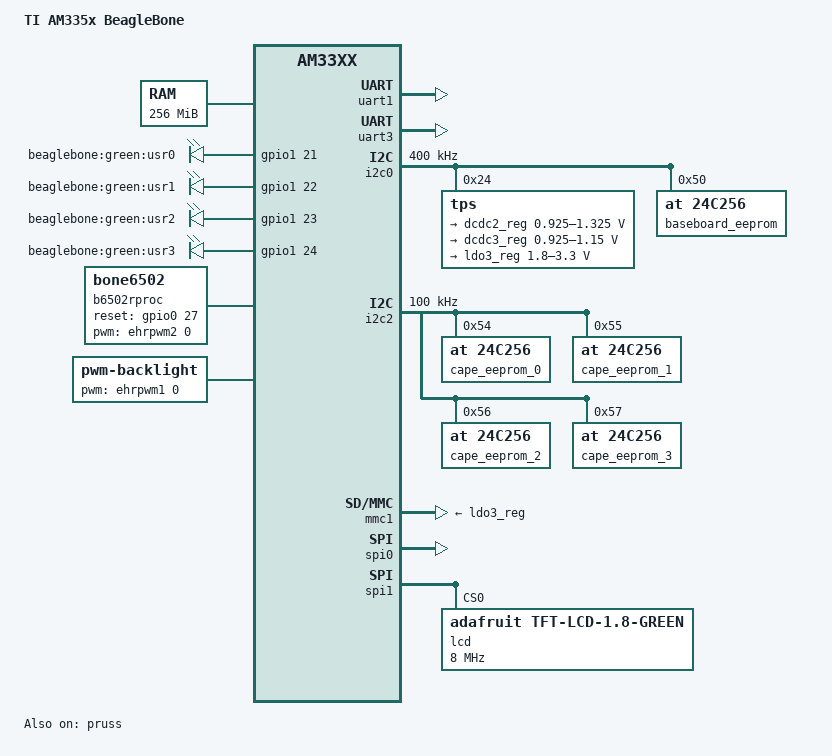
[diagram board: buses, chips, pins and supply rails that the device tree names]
/*
 * Copyright (C) 2012 Texas Instruments Incorporated - http://www.ti.com/
 *
 * This program is free software; you can redistribute it and/or modify
 * it under the terms of the GNU General Public License version 2 as
 * published by the Free Software Foundation.
 */
/dts-v1/;

/include/ "am33xx.dtsi"

/ {
	model = "TI AM335x BeagleBone";
	compatible = "ti,am335x-bone", "ti,am33xx";

	cpus {
		cpu@0 {
			cpu0-supply = <&dcdc2_reg>;
		};
	};

	memory {
		device_type = "memory";
		reg = <0x80000000 0x10000000>; /* 256 MB */
	};

	am3358_pinmux: pinmux@44e10800 {
		userled_pins: pinmux_userled_pins {
			pinctrl-single,pins = <
				0x54 0x7	/* gpmc_a5.gpio1_21, OUTPUT | MODE7 */
				0x58 0x17	/* gpmc_a6.gpio1_22, OUTPUT_PULLUP | MODE7 */
				0x5c 0x7	/* gpmc_a7.gpio1_23, OUTPUT | MODE7 */
				0x60 0x17	/* gpmc_a8.gpio1_24, OUTPUT_PULLUP | MODE7 */
			>;
		};
		spi1_pins: pinmux_spi1_pins {
			pinctrl-single,pins = <
				/* 0x190 0x13 */	/* mcasp0_aclkx.spi1_sclk, OUTPUT_PULLUP | MODE3 */
				/* 0x194 0x33 */	/* mcasp0_fsx.spi1_d0, INPUT_PULLUP | MODE3 */
				/* 0x198 0x13*/	/* mcasp0_axr0.spi1_d1, OUTPUT_PULLUP | MODE3 */
				/*0x19c 0x13 */	/* mcasp0_ahclkr.spi1_cs0, OUTPUT_PULLUP | MODE3 */
				0x48 0x6        /* gpmc_a2.ehrpwm1A, MODE6 */
			>;
		};
		lcd_pins: pinmux_lcd_pins {
			pinctrl-single,pins = <
				0x1a4 0x17	/* mcasp0_fsr.gpio3_19, OUTPUT_PULLUP | MODE7 */
				0x1ac 0x17	/* mcasp0_ahclkx.gpio3_21, OUTPUT_PULLUP | MODE7 */
			>;
		};
		i2c2_pins: pinmux_i2c2_pins {
			pinctrl-single,pins = <
				0x178 0x73 	/* uart1_ctsn.i2c2_sda, SLEWCTRL_SLOW | INPUT_PULLUP | MODE3 */
				0x17c 0x73	/* uart1_rtsn.i2c2_scl, SLEWCTRL_SLOW | INPUT_PULLUP | MODE3 */
			>;
		};
		b6502_pins: pinmux_b6502_pins {
			pinctrl-single,pins = <
				/* clock and reset */
				0x20 0x04	/* gpmc_ad8.ehrpwm2a, MODE4 */
				0x2c 0x17	/* gpmc_ad11.gpio0_27, OUTPUT_PULLUP | MODE7 */

				/* data out 0..7 */
				0xe0 0x15	/* lcd_vsync.pr1_pru1_pru_r30_8, OUTPUT_PULLUP | MODE5 */
				0xe4 0x15	/* lcd_hsync.pr1_pru1_pru_r30_9, OUTPUT_PULLUP | MODE5 */
				0xe8 0x15	/* lcd_pclk.pr1_pru1_pru_r30_10, OUTPUT_PULLUP | MODE5 */
				0xec 0x15	/* lcd_ac_bias_en.pr1_pru1_pru_r30_11, OUTPUT_PULLUP | MODE5 */
				0x80 0x15	/* gpmc_csn1.pr1_pru1_pru_r30_12, OUTPUT_PULLUP | MODE5 */
				0x84 0x15	/* gpmc_csn2.pr1_pru1_pru_r30_13, OUTPUT_PULLUP | MODE5 */
				0x30 0x16	/* gpmc_ad12.pr1_pru0_pru_r30_14, OUTPUT_PULLUP | MODE6 */
				0x34 0x16	/* gpmc_ad13.pr1_pru0_pru_r30_15, OUTPUT_PULLUP | MODE6 */

				/* data in 0..7 */
				0xa0 0x36	/* lcd_data0.pr1_pru1_pru_r31_0, INPUT_PULLUP | MODE6 */
				0xa4 0x36	/* lcd_data1.pr1_pru1_pru_r31_1, INPUT_PULLUP | MODE6 */
				0xa8 0x36	/* lcd_data2.pr1_pru1_pru_r31_2, INPUT_PULLUP | MODE6 */
				0xac 0x36	/* lcd_data3.pr1_pru1_pru_r31_3, INPUT_PULLUP | MODE6 */
				0xb0 0x36	/* lcd_data4.pr1_pru1_pru_r31_4, INPUT_PULLUP | MODE6 */
				0xb4 0x36	/* lcd_data5.pr1_pru1_pru_r31_5, INPUT_PULLUP | MODE6 */
				0xb8 0x36	/* lcd_data6.pr1_pru1_pru_r31_6, INPUT_PULLUP | MODE6 */
				0xbc 0x36	/* lcd_data7.pr1_pru1_pru_r31_7, INPUT_PULLUP | MODE6 */

				/* rw and phi2 */
				0x38 0x36	/* gpmc_ad14.pr1_pru0_pru_r31_14, INPUT_PULLUP | MODE6 */
				0x3c 0x36	/* gpmc_ad15.pr1_pru0_pru_r31_15, INPUT_PULLUP | MODE6 */

				/* alow and ahigh */
				0x190 0x15	/* mcasp0_aclkx.pr1_pru0_pru_r30_0, OUTPUT_PULLUP | MODE5 */
				0x194 0x15	/* mcasp0_fsx.pr1_pru0_pru_r30_1, OUTPUT_PULLUP | MODE5 */

				/* dataout and datain */
				0x198 0x15	/* mcasp0_axr0.pr1_pru0_pru_r30_2, OUTPUT_PULLUP | MODE5 */
				0x19c 0x15	/* mcasp0_ahclkr.pr1_pru0_pru_r30_3, OUTPUT_PULLUP | MODE5 */
			>;
		};
	};

	ocp {
		uart1: serial@44e09000 {
			status = "okay";
		};

		uart3: serial@48024000 {
			status = "okay";
		};

		gpio-leds {
			compatible = "gpio-leds";
			pinctrl-names = "default";
			pinctrl-0 = <&userled_pins>;

			led0 {
				label = "beaglebone:green:usr0";
				gpios = <&gpio1 21 0>;
				linux,default-trigger = "heartbeat";
				default-state = "off";
			};

			led1 {
				label = "beaglebone:green:usr1";
				gpios = <&gpio1 22 0>;
				linux,default-trigger = "mmc0";
				default-state = "off";
			};

			led2 {
				label = "beaglebone:green:usr2";
				gpios = <&gpio1 23 0>;
				default-state = "off";
			};

			led3 {
				label = "beaglebone:green:usr3";
				gpios = <&gpio1 24 0>;
				default-state = "off";
			};
		};

		sram6502: sram@4a310000 {
			compatible = "sram";
			reg = <0x4a310000 0x2000>; /* 8 KiB PRUSS Shared SRAM at address 0x4a310000 */
			alloc-order = <10>; /* Minimum 1KiB allocation */	
		};

		b6502rproc: rproc@0 {
			compatible = "bone6502";
			pinctrl-names = "default";
			pinctrl-0 = <&b6502_pins>;
			sram = <&sram6502>;
			reset = <&gpio0 27 0>;
			pwms = <&ehrpwm2 0 1000 0>;
			pwm-names = "clock";
		};
	};

	backlight {
			compatible	= "pwm-backlight"; 
			pwms = <&ehrpwm1 0 500000 0>;
			pwm-names = "st7735fb";
			brightness-levels = <0 1 2 3 4 5 6 7 8 9 10 11 12 13 14 15 16 17 18 19 20 21 22 23 24 25 26 27 28 29 30 31 32 33 34 35 36 37 38 39 40 41 42 43 44 45 46 47 48 49 50 51 52 53 54 55 56 57 58 59 60 61 62 63 64 65 66 67 68 69 70 71 72 73 74 75 76 77 78 79 80 81 82 83 84 85 86 87 88 89 90 91 92 93 94 95 96 97 98 99 100>;
			default-brightness-level = <50>; /* index to the array above */ 
		};
};

&i2c0 {
	status = "okay";
	clock-frequency = <400000>;

	tps: tps@24 {
		reg = <0x24>;
	};

	baseboard_eeprom: baseboard_eeprom@50 {
		compatible = "at,24c256";
		reg = <0x50>;
	};
       
};

&i2c2 {
	status = "okay";
	pinctrl-names = "default";
	pinctrl-0 = <&i2c2_pins>;

	clock-frequency = <100000>;

	/* OK, I know these are cape but for now it will do */
	cape_eeprom_0: cape_eeprom_0@54 {
		compatible = "at,24c256";
		reg = <0x54>;
	};

	cape_eeprom_1: cape_eeprom_1@55 {
		compatible = "at,24c256";
		reg = <0x55>;
	};

	cape_eeprom_2: cape_eeprom_2@56 {
		compatible = "at,24c256";
		reg = <0x56>;
	};

	cape_eeprom_3: cape_eeprom_3@57 {
		compatible = "at,24c256";
		reg = <0x57>;
	};
};

/include/ "tps65217.dtsi"

&tps {
	regulators {
		dcdc1_reg: regulator@0 {
			regulator-always-on;
		};

		dcdc2_reg: regulator@1 {
			/* VDD_MPU voltage limits 0.95V - 1.26V with +/-4% tolerance */
			regulator-name = "vdd_mpu";
			regulator-min-microvolt = <925000>;
			regulator-max-microvolt = <1325000>;
			regulator-boot-on;
			regulator-always-on;
		};

		dcdc3_reg: regulator@2 {
			/* VDD_CORE voltage limits 0.95V - 1.1V with +/-4% tolerance */
			regulator-name = "vdd_core";
			regulator-min-microvolt = <925000>;
			regulator-max-microvolt = <1150000>;
			regulator-boot-on;
			regulator-always-on;
		};

		ldo1_reg: regulator@3 {
			regulator-always-on;
		};

		ldo2_reg: regulator@4 {
			regulator-always-on;
		};

		ldo3_reg: regulator@5 {
			regulator-min-microvolt = <1800000>;
			regulator-max-microvolt = <3300000>;
			regulator-always-on;
		};

		ldo4_reg: regulator@6 {
			regulator-always-on;
		};
	};
};

&cpsw_emac0 {
	phy_id = "4a101000.mdio:00";
};

&cpsw_emac1 {
	phy_id = "4a101000.mdio:01";
};

&mmc1 {
	vmmc-supply = <&ldo3_reg>;
};

&spi0 {
	status = "okay";
};

&spi1 {
	status = "okay";
	pinctrl-names = "default";
	pinctrl-0 = <&spi1_pins>;

	lcd@0 {
		compatible = "adafruit,tft-lcd-1.8-green", "sitronix,st7735";
		spi-max-frequency = <8000000>;
		reg = <0>;
		spi-cpol;
		spi-cpha;
		pinctrl-names = "default";
		pinctrl-0 = <&lcd_pins>;
		st7735-rst {
			gpios = <&gpio3 19 0>;
		};
		st7735-dc {
			gpios = <&gpio3 21 0>;
		};
	};
};

&pruss {
	status = "okay";
};


